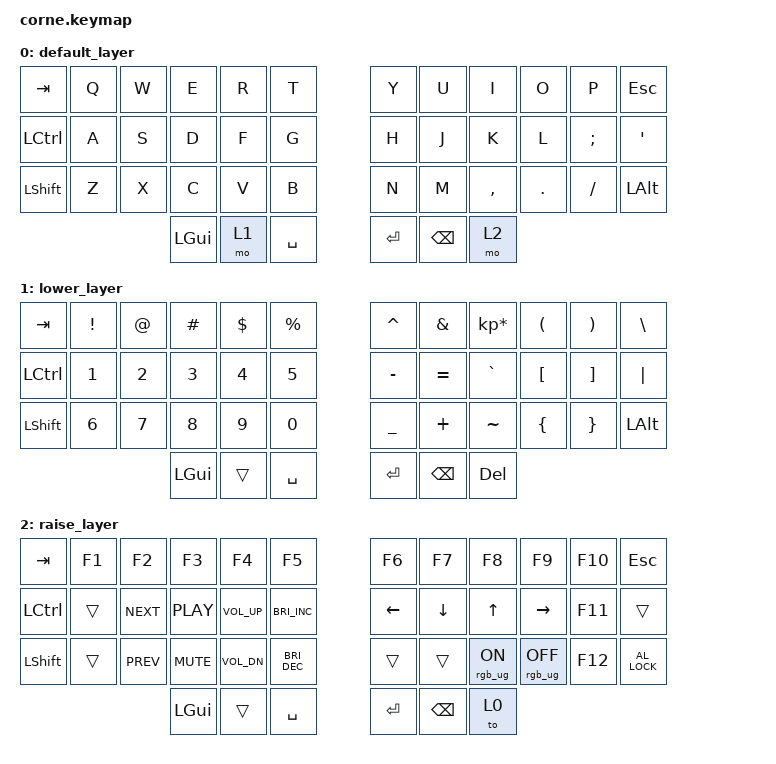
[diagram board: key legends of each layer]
/*
 * Copyright (c) 2020 The ZMK Contributors
 *
 * SPDX-License-Identifier: MIT
 */

#include <behaviors.dtsi>
#include <dt-bindings/zmk/keys.h>
#include <dt-bindings/zmk/rgb.h>

/ {
    combos {
        compatible = "zmk,combos";

        combo_toggle_l2 {
            bindings = <&tog 2>;
            key-positions = <41 35>;
            timeout-ms = <2000>;
        };
    };

    keymap {
        compatible = "zmk,keymap";

        default_layer {
            // -----------------------------------------------------------------------------------------
            // |  TAB |  Q  |  W  |  E  |  R  |  T  |   |  Y  |  U   |  I  |  O  |  P  | BKSP |
            // | CTRL |  A  |  S  |  D  |  F  |  G  |   |  H  |  J   |  K  |  L  |  ;  |  '   |
            // | SHFT |  Z  |  X  |  C  |  V  |  B  |   |  N  |  M   |  ,  |  .  |  /  | ESC  |
            //                    | GUI | LWR | SPC |   | ENT | RSE  | ALT |

            bindings = <
&kp TAB    &kp Q  &kp W  &kp E     &kp R  &kp T        &kp Y    &kp U          &kp I      &kp O    &kp P     &kp ESC
&kp LCTRL  &kp A  &kp S  &kp D     &kp F  &kp G        &kp H    &kp J          &kp K      &kp L    &kp SEMI  &kp SQT
&kp LSHFT  &kp Z  &kp X  &kp C     &kp V  &kp B        &kp N    &kp M          &kp COMMA  &kp DOT  &kp FSLH  &kp LEFT_ALT
                         &kp LGUI  &mo 1  &kp SPACE    &kp RET  &kp BACKSPACE  &mo 2
            >;
        };

        lower_layer {
            // -----------------------------------------------------------------------------------------
            // |  TAB |  1  |  2  |  3  |  4  |  5  |   |  6  |  7  |  8  |  9  |  0  | BKSP |
            // | BTCLR| BT1 | BT2 | BT3 | BT4 | BT5 |   | LFT | DWN |  UP | RGT |     |      |
            // | SHFT |     |     |     |     |     |   |     |     |     |     |     |      |
            //                    | GUI |     | SPC |   | ENT |     | ALT |

            bindings = <
&kp TAB    &kp EXCL      &kp AT        &kp HASH      &kp DOLLAR    &kp PERCENT     &kp CARET       &kp AMPERSAND  &kp KP_ASTERISK  &kp LEFT_PARENTHESIS  &kp RIGHT_PARENTHESIS  &kp BACKSLASH
&kp LCTRL  &kp NUMBER_1  &kp NUMBER_2  &kp NUMBER_3  &kp NUMBER_4  &kp NUMBER_5    &kp MINUS       &kp EQUAL      &kp GRAVE        &kp LEFT_BRACKET      &kp RIGHT_BRACKET      &kp PIPE
&kp LSHFT  &kp NUMBER_6  &kp NUMBER_7  &kp NUMBER_8  &kp NUMBER_9  &kp NUMBER_0    &kp UNDERSCORE  &kp PLUS       &kp TILDE        &kp LEFT_BRACE        &kp RIGHT_BRACE        &kp LEFT_ALT
                                       &kp LGUI      &trans        &kp SPACE       &kp RET         &kp BACKSPACE  &kp DELETE
            >;
        };

        raise_layer {
            // -----------------------------------------------------------------------------------------
            // |  TAB |  !  |  @  |  #  |  $  |  %  |   |  ^  |  &  |  *  |  (  |  )  | BKSP |
            // | CTRL |     |     |     |     |     |   |  -  |  =  |  [  |  ]  |  \  |  `   |
            // | SHFT |     |     |     |     |     |   |  _  |  +  |  {  |  }  | "|" |  ~   |
            //                    | GUI |     | SPC |   | ENT |     | ALT |

            bindings = <
&kp TAB    &kp F1  &kp F2      &kp F3      &kp F4           &kp F5                  &kp F6          &kp F7         &kp F8          &kp F9           &kp F10  &kp ESC
&kp LCTRL  &trans  &kp C_NEXT  &kp C_PLAY  &kp C_VOLUME_UP  &kp C_BRIGHTNESS_INC    &kp LEFT_ARROW  &kp DOWN       &kp UP          &kp RIGHT        &kp F11  &trans
&kp LSHFT  &trans  &kp C_PREV  &kp K_MUTE  &kp C_VOL_DN     &kp C_BRIGHTNESS_DEC    &trans          &trans         &rgb_ug RGB_ON  &rgb_ug RGB_OFF  &kp F12  &kp C_AL_LOCK
                               &kp LGUI    &trans           &kp SPACE               &kp RET         &kp BACKSPACE  &to 0
            >;
        };
    };
};
